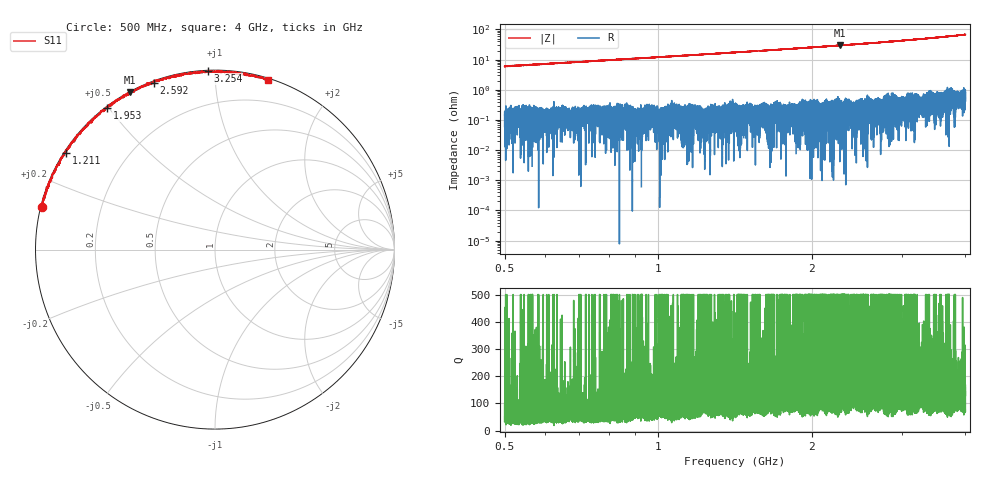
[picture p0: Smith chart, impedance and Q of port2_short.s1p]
!Agilent Technologies,E8363C,MY49030273,A.09.42.18
!Agilent E8363C: A.09.42.18
!Date: Tuesday, May 03, 2022 03:54:47
!Correction: S22(Full 2 Port(1,2))
!S1P File: Measurement: S22:
# Hz S  dB  R 50
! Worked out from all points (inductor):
!   32001 points, 500 MHz to 4 GHz, reference 50 ohm
!   read as one part to ground: L = 1.91 nH near 517.5 MHz
!   highest Q = 410 at 2.272 GHz (marker M1), where L = 2.09 nH
!   S11 on the Smith chart (normalised r, x): 500 MHz: 0.00, +0.12; 1.211 GHz: 0.01, +0.29; 1.953 GHz: 0.01, +0.49; 2.592 GHz: 0.01, +0.70; 3.254 GHz: 0.00, +0.96; 4 GHz: 0.01, +1.36
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5e8  -0.06 166.3
6.886719e8  -0.01 161.2
9.375e8  -0.04 154.7
1.210609e9  -0.09 147.1
1.375e9  -0.02 142.8
1.552297e9  -0.08 138.0
1.8125e9  -0.06 131.3
1.953156e9  -0.08 127.4
2.078938e9  -0.05 123.7
2.25e9  -0.08 119.2
2.271547e9  -0.02 118.4
2.409141e9  -0.05 115.0
2.591797e9  -0.08 110.2
2.6875e9  -0.06 107.7
2.846641e9  -0.05 103.4
3.047125e9  -0.06 97.9
3.125e9  -0.13 95.9
3.253625e9  -0.03 92.4
3.316516e9  -0.11 91.0
3.381922e9  -0.07 88.8
3.422172e9  -0.08 88.2
3.5625e9  -0.08 84.5
3.638406e9  -0.09 82.3
3.698125e9  -0.06 80.5
3.751828e9  -0.13 79.7
3.802797e9  -0.09 77.8
3.857484e9  -0.07 76.8
4e9  -0.06 72.6
